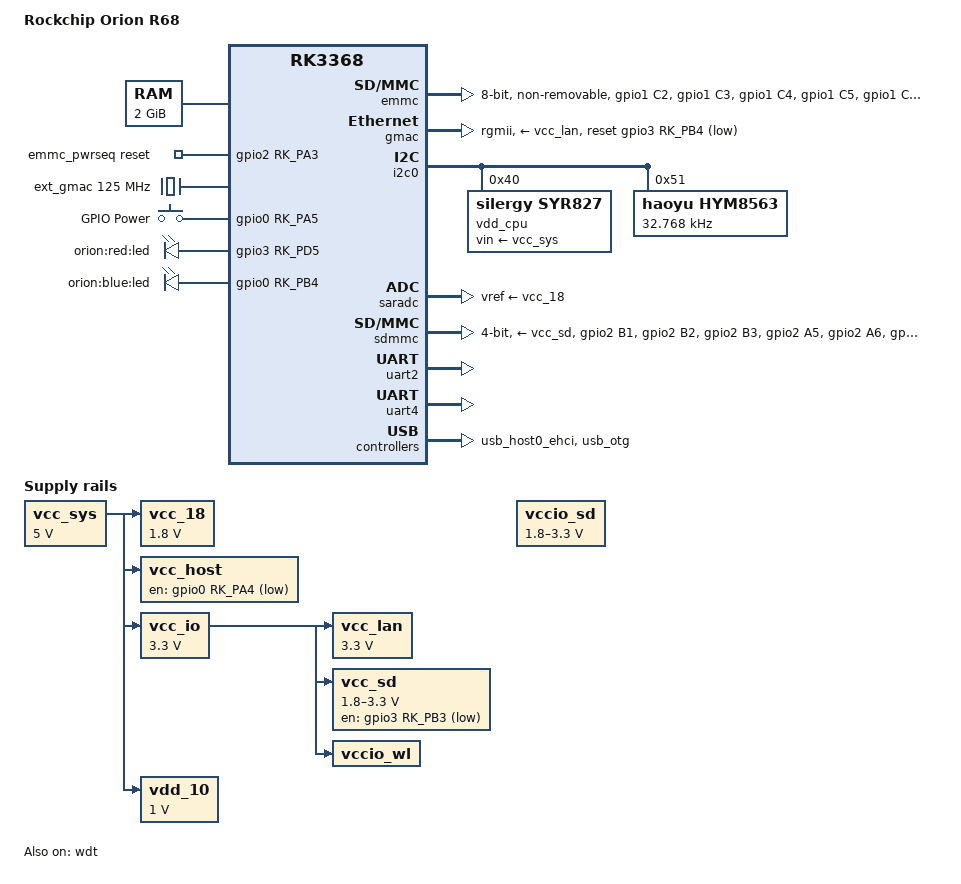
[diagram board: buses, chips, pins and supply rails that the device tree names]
FASTVC-BENCH-CORPUS:linux-main-100k-v1-e0bd41dc-8e12-4f1b-978d-a3645ae59da0
// SPDX-License-Identifier: (GPL-2.0+ OR MIT)
/*
 * Copyright (c) 2016 Matthias Brugger <mbrugger@suse.com>
 */

/dts-v1/;
#include <dt-bindings/input/input.h>
#include "rk3368.dtsi"

/ {
	model = "Rockchip Orion R68";
	compatible = "tronsmart,orion-r68-meta", "rockchip,rk3368";

	chosen {
		stdout-path = "serial2:115200n8";
	};

	memory {
		device_type = "memory";
		reg = <0x0 0x0 0x0 0x80000000>;
	};

	emmc_pwrseq: emmc-pwrseq {
		compatible = "mmc-pwrseq-emmc";
		pinctrl-0 = <&emmc_reset>;
		pinctrl-names = "default";
		reset-gpios = <&gpio2 RK_PA3 GPIO_ACTIVE_HIGH>;
	};

	ext_gmac: external-gmac-clock {
		compatible = "fixed-clock";
		#clock-cells = <0>;
		clock-frequency = <125000000>;
		clock-output-names = "ext_gmac";
	};

	keys: gpio-keys {
		compatible = "gpio-keys";
		pinctrl-names = "default";
		pinctrl-0 = <&pwr_key>;

		power {
			wakeup-source;
			gpios = <&gpio0 RK_PA5 GPIO_ACTIVE_HIGH>;
			label = "GPIO Power";
			linux,code = <KEY_POWER>;
		};
	};

	leds: gpio-leds {
		compatible = "gpio-leds";

		red_led: led-0 {
			gpios = <&gpio3 RK_PD5 GPIO_ACTIVE_HIGH>;
			label = "orion:red:led";
			pinctrl-names = "default";
			pinctrl-0 = <&led_ctl>;
			default-state = "on";
		};

		blue_led: led-1 {
			gpios = <&gpio0 RK_PB4 GPIO_ACTIVE_HIGH>;
			label = "orion:blue:led";
			pinctrl-names = "default";
			pinctrl-0 = <&stby_pwren>;
/* bench 4077.0.0 29c44c7b8e7e */
/* bench 4077.0.1 de8ea2cb0d54 */
/* bench 4077.0.2 35f3a74c01e7 */
/* bench 4077.0.3 464507789dde */
/* bench 4077.0.4 0d8bda9ac25f */
/* bench 4077.0.5 6932d93933be */
/* bench 4077.0.6 dc58f0cc0bd5 */
/* bench 4077.0.7 d2e7c395e45b */
		};
	};

	vcc_18: vcc18-regulator {
		compatible = "regulator-fixed";
		regulator-name = "vcc_18";
		regulator-min-microvolt = <1800000>;
		regulator-max-microvolt = <1800000>;
		regulator-always-on;
		regulator-boot-on;
		vin-supply = <&vcc_sys>;
	};

	/* supplies both host and otg */
	vcc_host: vcc-host-regulator {
		compatible = "regulator-fixed";
		gpio = <&gpio0 RK_PA4 GPIO_ACTIVE_LOW>;
		pinctrl-names = "default";
		pinctrl-0 = <&host_vbus_drv>;
		regulator-name = "vcc_host";
		regulator-always-on;
		regulator-boot-on;
		vin-supply = <&vcc_sys>;
	};

	vcc_io: vcc-io-regulator {
		compatible = "regulator-fixed";
		regulator-name = "vcc_io";
		regulator-min-microvolt = <3300000>;
		regulator-max-microvolt = <3300000>;
		regulator-always-on;
		regulator-boot-on;
		vin-supply = <&vcc_sys>;
	};

	vcc_lan: vcc-lan-regulator {
		compatible = "regulator-fixed";
		regulator-name = "vcc_lan";
		regulator-min-microvolt = <3300000>;
		regulator-max-microvolt = <3300000>;
		regulator-always-on;
		regulator-boot-on;
		vin-supply = <&vcc_io>;
	};

	vcc_sd: vcc-sd-regulator {
		compatible = "regulator-fixed";
		regulator-name = "vcc_sd";
		gpio = <&gpio3 RK_PB3 GPIO_ACTIVE_LOW>;
		regulator-min-microvolt = <1800000>;
		regulator-max-microvolt = <3300000>;
		vin-supply = <&vcc_io>;
	};

	vcc_sys: vcc-sys-regulator {
		compatible = "regulator-fixed";
		regulator-name = "vcc_sys";
		regulator-min-microvolt = <5000000>;
		regulator-max-microvolt = <5000000>;
		regulator-always-on;
		regulator-boot-on;
	};

	vccio_sd: vcc-io-sd-regulator {
		compatible = "regulator-fixed";
		regulator-name= "vccio_sd";
		regulator-min-microvolt = <1800000>;
		regulator-max-microvolt = <3300000>;
		regulator-always-on;
		regulator-boot-on;
/* bench 20811.2.0 0dd9cbf54100 */
/* bench 20811.2.1 37c6fd39e44a */
/* bench 20811.2.2 543b34a3f1e0 */
/* bench 20811.2.3 18274f1b4b01 */
/* bench 20811.2.4 48db10bc21ab */
/* bench 20811.2.5 af89b0a69f61 */
/* bench 20811.2.6 e31dfaa01709 */
/* bench 20811.2.7 2e4b93fbc361 */
/* bench 20811.2.8 feba5c6fe4fb */
/* bench 20811.2.9 50743c54e5b1 */
/* bench 20811.2.10 2e57cf96c16d */
/* bench 20811.2.11 b7c1a80c5f5a */
/* bench 20811.2.12 3157459097dd */
/* bench 20811.2.13 9eca5202d4a7 */
/* bench 20811.2.14 3538bd916310 */
	};

	vccio_wl: vccio-wl-regulator {
		compatible = "regulator-fixed";
		regulator-name = "vccio_wl";
/* bench 13094.2.0 72b0c2cf43fa */
/* bench 13094.2.1 a71203c3f7a0 */
/* bench 20435.0.0 91c3b29c4a1f */
/* bench 20435.0.1 925e8e4bd0dd */
/* bench 20435.0.2 f5864666d60e */
/* bench 20435.0.3 ab04d02d6d12 */
/* bench 20435.0.4 7718955c103b */
/* bench 20435.0.5 ec76d253c9ef */
/* bench 20435.0.6 44f1a916ff4a */
/* bench 20435.0.7 ba1fb3f379c2 */
/* bench 20435.0.8 1bfa91945850 */
/* bench 20435.0.9 85649e92ab8f */
/* bench 20435.0.10 4f4e22d363c0 */
/* bench 20435.0.11 c98aaf43c585 */
/* bench 13094.2.3 ba2969ef22f6 */
/* bench 13094.2.4 d43016069e62 */
/* bench 13094.2.5 58683220e6ce */
/* bench 13094.2.6 b908fc873285 */
/* bench 13094.2.7 c190702d14ec */
/* bench 13094.2.8 d2df0f956f00 */
/* bench 13094.2.9 100ba5183b08 */
/* bench 13094.2.10 6f29692c6bb1 */
/* bench 13094.2.11 d881bba92ee5 */
/* bench 13094.2.12 9421062a6f0b */
/* bench 13094.2.13 ec0e5cad2446 */
/* bench 13094.2.14 ff2eb622b11d */
/* bench 13094.2.15 46572f812dbe */
		regulator-boot-on;
		vin-supply = <&vcc_io>;
	};

	vdd_10: vdd-10-regulator {
		compatible = "regulator-fixed";
		regulator-name = "vdd_10";
		regulator-min-microvolt = <1000000>;
		regulator-max-microvolt = <1000000>;
		regulator-always-on;
		regulator-boot-on;
		vin-supply = <&vcc_sys>;
	};
};

&emmc {
	bus-width = <8>;
	cap-mmc-highspeed;
	mmc-pwrseq = <&emmc_pwrseq>;
	mmc-hs200-1_2v;
	mmc-hs200-1_8v;
	non-removable;
	pinctrl-names = "default";
	pinctrl-0 = <&emmc_clk &emmc_cmd &emmc_bus8>;
	status = "okay";
};

&gmac {
	assigned-clocks = <&cru SCLK_MAC>;
	assigned-clock-parents = <&ext_gmac>;
	clock_in_out = "input";
	phy-supply = <&vcc_lan>;
	phy-mode = "rgmii";
	pinctrl-names = "default";
	pinctrl-0 = <&rgmii_pins>;
	snps,reset-gpio = <&gpio3 RK_PB4 GPIO_ACTIVE_HIGH>;
	snps,reset-active-low;
	snps,reset-delays-us = <0 10000 1000000>;
	tx_delay = <0x30>;
	rx_delay = <0x10>;
	status = "okay";
};

&i2c0 {
	status = "okay";

	vdd_cpu: syr827@40 {
		compatible = "silergy,syr827";
		reg = <0x40>;
		fcs,suspend-voltage-selector = <1>;
		regulator-name = "vdd_cpu";
		regulator-enable-ramp-delay = <300>;
		regulator-min-microvolt = <712500>;
		regulator-max-microvolt = <1500000>;
		regulator-ramp-delay = <8000>;
		regulator-always-on;
		regulator-boot-on;
		vin-supply = <&vcc_sys>;
	};

	hym8563: hym8563@51 {
		compatible = "haoyu,hym8563";
		reg = <0x51>;
		#clock-cells = <0>;
		clock-frequency = <32768>;
		clock-output-names = "xin32k";
		/* rtc_int is not connected */
	};
};

&pinctrl {
	pcfg_pull_none_drv_8ma: pcfg-pull-none-drv-8ma {
		bias-disable;
		drive-strength = <8>;
	};

	pcfg_pull_up_drv_8ma: pcfg-pull-up-drv-8ma {
		bias-pull-up;
		drive-strength = <8>;
	};

	emmc {
		emmc_bus8: emmc-bus8 {
			rockchip,pins = <1 RK_PC2 2 &pcfg_pull_up_drv_8ma>,
					<1 RK_PC3 2 &pcfg_pull_up_drv_8ma>,
					<1 RK_PC4 2 &pcfg_pull_up_drv_8ma>,
					<1 RK_PC5 2 &pcfg_pull_up_drv_8ma>,
					<1 RK_PC6 2 &pcfg_pull_up_drv_8ma>,
					<1 RK_PC7 2 &pcfg_pull_up_drv_8ma>,
					<1 RK_PD0 2 &pcfg_pull_up_drv_8ma>,
					<1 RK_PD1 2 &pcfg_pull_up_drv_8ma>;
		};

		emmc-clk {
			rockchip,pins = <2 RK_PA4 2 &pcfg_pull_none_drv_8ma>;
		};

		emmc-cmd {
			rockchip,pins = <1 RK_PD2 2 &pcfg_pull_up_drv_8ma>;
		};

/* bench 16999.3.0 b377a401a110 */
/* bench 16999.3.1 b154259d5702 */
/* bench 16999.3.2 ecd850fe5245 */
/* bench 16999.3.3 76125ba29a2d */
/* bench 16999.3.4 e0cb7ee5adb9 */
/* bench 16999.3.5 375a24ad9769 */
/* bench 16999.3.6 043686b21421 */
/* bench 16999.3.7 12cb023c0283 */
/* bench 21200.0.0 149b78a62103 */
/* bench 21200.0.1 3c8863d04e1f */
/* bench 21200.0.2 a75d7ee99cc4 */
/* bench 21200.0.3 077f71db0920 */
/* bench 21200.0.4 03de5d50d1ce */
/* bench 21200.0.5 03890d9f8487 */
/* bench 21200.0.6 3b10b24f97b3 */
	};

	keys {
		pwr_key: pwr-key {
			rockchip,pins = <0 RK_PA5 RK_FUNC_GPIO &pcfg_pull_down>;
		};
	};

	leds {
		stby_pwren: stby-pwren {
			rockchip,pins = <0 RK_PB4 RK_FUNC_GPIO &pcfg_pull_none>;
		};

		led_ctl: led-ctl {
			rockchip,pins = <3 RK_PD5 RK_FUNC_GPIO &pcfg_pull_none>;
		};
	};

	sdmmc {
		sdmmc_clk: sdmmc-clk {
			rockchip,pins = <2 RK_PB1 1 &pcfg_pull_none_drv_8ma>;
		};

		sdmmc_cmd: sdmmc-cmd {
			rockchip,pins = <2 RK_PB2 1 &pcfg_pull_up_drv_8ma>;
		};

		sdmmc_cd: sdmmc-cd {
			rockchip,pins = <2 RK_PB3 1 &pcfg_pull_up_drv_8ma>;
		};

		sdmmc_bus1: sdmmc-bus1 {
			rockchip,pins = <2 RK_PA5 1 &pcfg_pull_up_drv_8ma>;
		};

		sdmmc_bus4: sdmmc-bus4 {
			rockchip,pins = <2 RK_PA5 1 &pcfg_pull_up_drv_8ma>,
					<2 RK_PA6 1 &pcfg_pull_up_drv_8ma>,
					<2 RK_PA7 1 &pcfg_pull_up_drv_8ma>,
					<2 RK_PB0 1 &pcfg_pull_up_drv_8ma>;
		};
	};

	usb {
		host_vbus_drv: host-vbus-drv {
			rockchip,pins = <0 RK_PA4 RK_FUNC_GPIO &pcfg_pull_none>;
		};
	};
};

&saradc {
	vref-supply = <&vcc_18>;
	status = "okay";
};

&sdmmc {
	bus-width = <4>;
	clock-frequency = <50000000>;
	max-frequency = <50000000>;
	cap-sd-highspeed;
	card-detect-delay = <200>;
	pinctrl-names = "default";
	pinctrl-0 = <&sdmmc_clk &sdmmc_cmd &sdmmc_cd &sdmmc_bus4>;
	vmmc-supply = <&vcc_sd>;
	vqmmc-supply = <&vccio_sd>;
	status = "okay";
};

&uart2 {
	status = "okay";
};

&uart4 {
	pinctrl-names = "default";
	pinctrl-0 = <&uart4_xfer>;
	status = "okay";
};

&usb_host0_ehci {
	status = "okay";
};

&usb_otg {
	status = "okay";
};

/* bench 19283.0.0 0e10481ec7d2 */
/* bench 19283.0.1 ae591b34d3a5 */
/* bench 19283.0.2 60eda842fe1e */
/* bench 19283.0.3 5ea38a575813 */
/* bench 19283.0.4 155125344e69 */
/* bench 19283.0.5 39513842f56c */
/* bench 19283.0.6 1dcc97975571 */
/* bench 19283.0.7 ed9e377117b4 */
/* bench 19283.0.8 9681707984b7 */
/* bench 19283.0.9 7b7ffd160ffe */
/* bench 19283.0.10 65d19c0f24ff */
&wdt {
	status = "okay";
};
